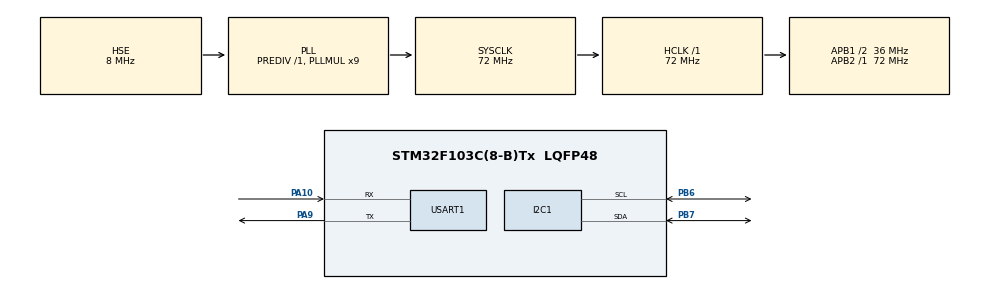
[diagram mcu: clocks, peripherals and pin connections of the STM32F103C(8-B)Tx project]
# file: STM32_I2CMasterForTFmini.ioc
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Dma.Request0=USART1_RX
Dma.Request1=USART1_TX
Dma.USART1_RX.0.Direction=DMA_PERIPH_TO_MEMORY
Dma.USART1_RX.0.Instance=DMA1_Channel5
Dma.USART1_RX.0.MemDataAlignment=DMA_MDATAALIGN_BYTE
Dma.USART1_RX.0.MemInc=DMA_MINC_ENABLE
Dma.USART1_RX.0.Mode=DMA_CIRCULAR
Dma.USART1_RX.0.PeriphDataAlignment=DMA_PDATAALIGN_BYTE
Dma.USART1_RX.0.PeriphInc=DMA_PINC_DISABLE
Dma.USART1_RX.0.Priority=DMA_PRIORITY_LOW
Dma.USART1_TX.1.Direction=DMA_MEMORY_TO_PERIPH
Dma.USART1_TX.1.Instance=DMA1_Channel4
Dma.USART1_TX.1.MemDataAlignment=DMA_MDATAALIGN_BYTE
Dma.USART1_TX.1.MemInc=DMA_MINC_ENABLE
Dma.USART1_TX.1.Mode=DMA_NORMAL
Dma.USART1_TX.1.PeriphDataAlignment=DMA_PDATAALIGN_BYTE
Dma.USART1_TX.1.PeriphInc=DMA_PINC_DISABLE
Dma.USART1_TX.1.Priority=DMA_PRIORITY_LOW
I2C1.I2C_Mode=I2C_Fast
Mcu.Family=STM32F1
Mcu.Name=STM32F103C(8-B)Tx
Mcu.Package=LQFP48
NVIC.DMA1_Channel4_IRQn=true\:0\:0\:false\:false\:true\:false
NVIC.DMA1_Channel5_IRQn=true\:0\:0\:false\:false\:true\:false
NVIC.PriorityGroup=NVIC_PRIORITYGROUP_4
NVIC.TIM1_UP_IRQn=true\:0\:0\:false\:false\:true\:true
NVIC.USART1_IRQn=true\:0\:0\:false\:false\:true\:true
PA10.Mode=Asynchronous
PA10.Signal=USART1_RX
PA13.Mode=Serial_Wire
PA13.Signal=SYS_JTMS-SWDIO
PA14.Mode=Serial_Wire
PA14.Signal=SYS_JTCK-SWCLK
PA9.Mode=Asynchronous
PA9.Signal=USART1_TX
PB6.Mode=I2C
PB6.Signal=I2C1_SCL
PB7.Mode=I2C
PB7.Signal=I2C1_SDA
PD0-OSC_IN.Mode=HSE-External-Oscillator
PD0-OSC_IN.Signal=RCC_OSC_IN
PD1-OSC_OUT.Mode=HSE-External-Oscillator
PD1-OSC_OUT.Signal=RCC_OSC_OUT
ProjectManager.HeapSize=0x200
ProjectManager.StackSize=0x400
ProjectManager.TargetToolchain=MDK-ARM V5
RCC.AHBFreq_Value=72000000
RCC.APB1CLKDivider=RCC_HCLK_DIV2
RCC.APB1Freq_Value=36000000
RCC.APB1TimFreq_Value=72000000
RCC.APB2Freq_Value=72000000
RCC.APB2TimFreq_Value=72000000
RCC.HCLKFreq_Value=72000000
RCC.PLLMUL=RCC_PLL_MUL9
RCC.PLLSourceVirtual=RCC_PLLSOURCE_HSE
RCC.SYSCLKFreq_VALUE=72000000
RCC.SYSCLKSource=RCC_SYSCLKSOURCE_PLLCLK
RCC.USBFreq_Value=72000000
TIM1.AutoReloadPreload=TIM_AUTORELOAD_PRELOAD_ENABLE
TIM1.Period=100
TIM1.Prescaler=7200-1
USART1.VirtualMode=VM_ASYNC
VP_TIM1_VS_ClockSourceINT.Mode=Internal
board=custom

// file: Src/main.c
/**
  ******************************************************************************
  * @file           : main.c
  * @brief          : Main program body
  ******************************************************************************
  ** This notice applies to any and all portions of this file
  * that are not between comment pairs USER CODE BEGIN and
  * USER CODE END. Other portions of this file, whether
  * inserted by the user or by software development tools
  * are owned by their respective copyright owners.
  *
  * COPYRIGHT(c) 2018 STMicroelectronics
  *
  * Redistribution and use in source and binary forms, with or without modification,
  * are permitted provided that the following conditions are met:
  *   1. Redistributions of source code must retain the above copyright notice,
  *      this list of conditions and the following disclaimer.
  *   2. Redistributions in binary form must reproduce the above copyright notice,
  *      this list of conditions and the following disclaimer in the documentation
  *      and/or other materials provided with the distribution.
  *   3. Neither the name of STMicroelectronics nor the names of its contributors
  *      may be used to endorse or promote products derived from this software
  *      without specific prior written permission.
  *
  * THIS SOFTWARE IS PROVIDED BY THE COPYRIGHT HOLDERS AND CONTRIBUTORS "AS IS"
  * AND ANY EXPRESS OR IMPLIED WARRANTIES, INCLUDING, BUT NOT LIMITED TO, THE
  * IMPLIED WARRANTIES OF MERCHANTABILITY AND FITNESS FOR A PARTICULAR PURPOSE ARE
  * DISCLAIMED. IN NO EVENT SHALL THE COPYRIGHT HOLDER OR CONTRIBUTORS BE LIABLE
  * FOR ANY DIRECT, INDIRECT, INCIDENTAL, SPECIAL, EXEMPLARY, OR CONSEQUENTIAL
  * DAMAGES (INCLUDING, BUT NOT LIMITED TO, PROCUREMENT OF SUBSTITUTE GOODS OR
  * SERVICES; LOSS OF USE, DATA, OR PROFITS; OR BUSINESS INTERRUPTION) HOWEVER
  * CAUSED AND ON ANY THEORY OF LIABILITY, WHETHER IN CONTRACT, STRICT LIABILITY,
  * OR TORT (INCLUDING NEGLIGENCE OR OTHERWISE) ARISING IN ANY WAY OUT OF THE USE
  * OF THIS SOFTWARE, EVEN IF ADVISED OF THE POSSIBILITY OF SUCH DAMAGE.
  *
  ******************************************************************************
  */
#include "main.h"
#include "stm32f1xx_hal.h"
#include "dma.h"
#include "i2c.h"
#include "tim.h"
#include "usart.h"
#include "gpio.h"

/* USER CODE BEGIN Includes */
#include "User_Usart.h"
#include "User_Timer.h"
#include "User_I2C.h"
#include "User_Command.h"
#include "string.h"
/* USER CODE END Includes */

/* USER CODE BEGIN PV */
/* Private variables ---------------------------------------------------------*/

/* USER CODE END PV */

void SystemClock_Config(void);

/* USER CODE BEGIN PFP */
/* Private function prototypes -----------------------------------------------*/

/* USER CODE END PFP */

int main(void)
{

  /* MCU Configuration----------------------------------------------------------*/

  /* Reset of all peripherals, Initializes the Flash interface and the Systick. */
  HAL_Init();

  /* Configure the system clock */
  SystemClock_Config();

  /* USER CODE BEGIN SysInit */
	HAL_Delay(100);
  /* USER CODE END SysInit */

  /* Initialize all configured peripherals */
  MX_GPIO_Init();
  MX_DMA_Init();
  MX_I2C1_Init();
  MX_TIM1_Init();
  MX_USART1_UART_Init();
  /* USER CODE BEGIN 2 */
	User_Usart1_Init();
	User_I2C_ResetBus();
	printf("This is an example for STM32F103 how to communicate with TFmini-I2C.\r\n");
	printf("Let's get the 0x10 TFmini Measurement Data.\r\n");
	printf("You can Send the command to start or stop the data qcquisition.\r\n");
	printf("Copyright (C), 2017 Benewake(Beijing) Co, Ltd. All Rright Reserved.\r\n");
	User_StartTFMiniMeasure();
  /* USER CODE END 2 */

  /* Infinite loop */
  /* USER CODE BEGIN WHILE */
  while (1)
  {
	User_IsUsartCommandExist();
	User_IsControlFlagExist();
  /* USER CODE END WHILE */

  }

}

void SystemClock_Config(void)
{

  RCC_OscInitTypeDef RCC_OscInitStruct;
  RCC_ClkInitTypeDef RCC_ClkInitStruct;

    /**Initializes the CPU, AHB and APB busses clocks
    */
  RCC_OscInitStruct.OscillatorType = RCC_OSCILLATORTYPE_HSE;
  RCC_OscInitStruct.HSEState = RCC_HSE_ON;
  RCC_OscInitStruct.HSEPredivValue = RCC_HSE_PREDIV_DIV1;
  RCC_OscInitStruct.HSIState = RCC_HSI_ON;
  RCC_OscInitStruct.PLL.PLLState = RCC_PLL_ON;
  RCC_OscInitStruct.PLL.PLLSource = RCC_PLLSOURCE_HSE;
  RCC_OscInitStruct.PLL.PLLMUL = RCC_PLL_MUL9;
  if (HAL_RCC_OscConfig(&RCC_OscInitStruct) != HAL_OK)
  {
    _Error_Handler(__FILE__, __LINE__);
  }

    /**Initializes the CPU, AHB and APB busses clocks
    */
  RCC_ClkInitStruct.ClockType = RCC_CLOCKTYPE_HCLK|RCC_CLOCKTYPE_SYSCLK
                              |RCC_CLOCKTYPE_PCLK1|RCC_CLOCKTYPE_PCLK2;
  RCC_ClkInitStruct.SYSCLKSource = RCC_SYSCLKSOURCE_PLLCLK;
  RCC_ClkInitStruct.AHBCLKDivider = RCC_SYSCLK_DIV1;
  RCC_ClkInitStruct.APB1CLKDivider = RCC_HCLK_DIV2;
  RCC_ClkInitStruct.APB2CLKDivider = RCC_HCLK_DIV1;

  if (HAL_RCC_ClockConfig(&RCC_ClkInitStruct, FLASH_LATENCY_2) != HAL_OK)
  {
    _Error_Handler(__FILE__, __LINE__);
  }

    /**Configure the Systick interrupt time
    */
  HAL_SYSTICK_Config(HAL_RCC_GetHCLKFreq()/1000);

    /**Configure the Systick
    */
  HAL_SYSTICK_CLKSourceConfig(SYSTICK_CLKSOURCE_HCLK);

  /* SysTick_IRQn interrupt configuration */
  HAL_NVIC_SetPriority(SysTick_IRQn, 0, 0);
}

void _Error_Handler(char *file, int line)
{
  while(1)
  {
  }
}

/************************ (C) COPYRIGHT STMicroelectronics *****END OF FILE****/
